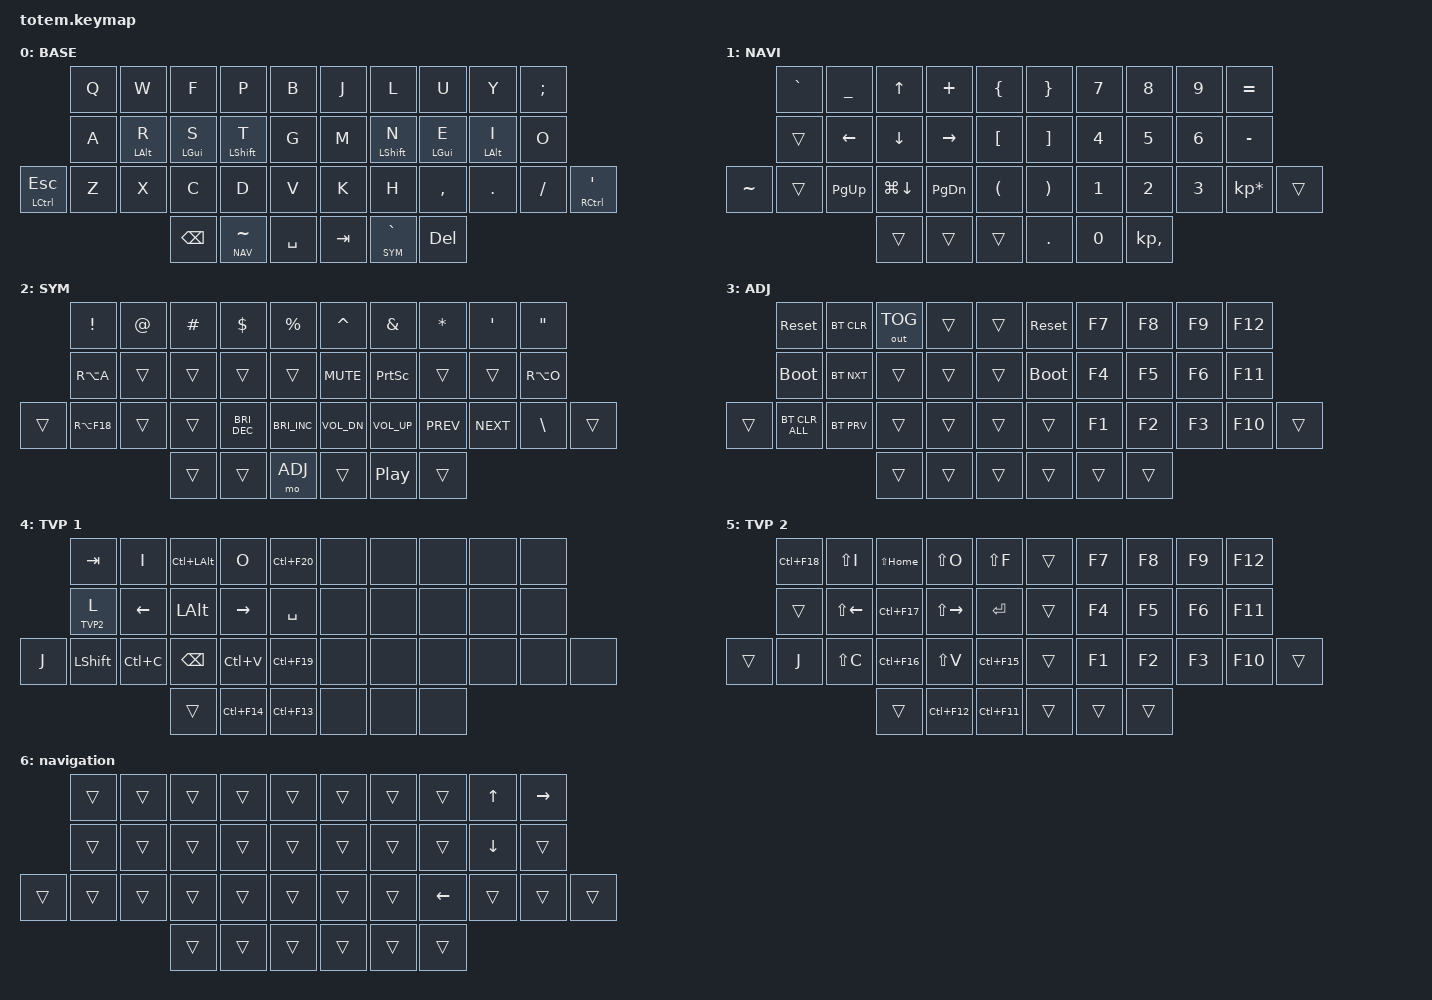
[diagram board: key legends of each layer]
//
//                                                        ▀▀▀▀▀     ▀▀▀▀▀          ▀▀█▀▀
//                                                        ▄▀▀▀▄  ▄  ▄▀▀▀▄  ▄  ▄▀▀▀▄  █  ▄▀▀▀▄
//                                                        █   █  █  █   █  █  █   █  █  █   █
//                                                         ▀▀▀   █   ▀▀▀   █   ▀▀▀   ▀   ▀▀▀
//                                                               █      ▄▄▄█▄▄▄    █   █  
//                                                               ▀      █  █  █     █▄█
//                                                             ▀▀▀▀▀    █  █  █      ▀
//                                                                      ▀  ▀  ▀
//
// ▄▄▄▄▄▄▄▄▄▄▄▄▄▄▄▄▄▄▄▄▄▄▄▄▄▄▄▄▄▄▄▄▄▄▄▄▄▄▄▄▄▄▄▄▄▄▄▄▄▄▄▄▄▄▄▄▄▄▄▄▄▄▄▄▄▄▄▄▄▄▄▄▄▄▄▄▄▄▄▄▄▄▄▄▄▄▄▄▄▄▄▄▄▄▄▄▄▄▄▄▄▄▄▄▄▄▄▄▄▄▄▄▄▄▄▄▄▄▄▄▄▄▄▄▄▄▄▄▄▄▄▄▄▄▄▄▄▄▄▄▄▄▄▄▄▄▄▄▄

#include <behaviors.dtsi>
#include <dt-bindings/zmk/bt.h>
#include <dt-bindings/zmk/keys.h>
#include <dt-bindings/zmk/outputs.h>

#define BASE 0
#define NAV  1
#define SYM  2
#define ADJ  3
#define TVP1 4
#define TVP2 5

&mt {
    quick-tap-ms = <160>;
    global-quick-tap;
    flavor = "tap-preferred";
    tapping-term-ms = <190>;
};

/ {
    combos {
        compatible = "zmk,combos";

        combo_esc {
            timeout-ms = <60>;
            key-positions = <0 1>;
            bindings = <&kp TAB>;
            require-prior-idle-ms = <120>;
        };

        dash {
            bindings = <&kp MINUS>;
            key-positions = <19 31>;
            timeout-ms = <70>;
        };

        tilde_combo {
            bindings = <&kp TILDE>;
            key-positions = <0 20>;
            timeout-ms = <60>;
            require-prior-idle-ms = <100>;
        };

        enter_combo {
            bindings = <&kp ENTER>;
            key-positions = <13 12 11>;
            timeout-ms = <70>;
            require-prior-idle-ms = <100>;
        };

        enter_right_combo {
            bindings = <&kp ENTER>;
            key-positions = <16 18 17>;
            timeout-ms = <70>;
            require-prior-idle-ms = <100>;
        };

        russian_letter_ {
            bindings = <&kp RIGHT_BRACKET>;
            key-positions = <8 9>;
            timeout-ms = <20>;
            require-prior-idle-ms = <100>;
        };

        russian_letter_x {
            bindings = <&kp LEFT_BRACKET>;
            key-positions = <8 7>;
            require-prior-idle-ms = <100>;
            timeout-ms = <20>;
        };

        umlaut_ue {
            bindings = <&kp RA(Y)>;
            key-positions = <7 17>;
        };

        umlaut_sz {
            bindings = <&kp RA(S)>;
            key-positions = <12 21>;
        };

        umlaut_ae {
            bindings = <&kp RA(Q)>;
            key-positions = <10 17>;
        };

        umlaut_oe {
            bindings = <&kp RA(P)>;
            key-positions = <17 19>;
        };
    };

    behaviors {
        mt_left: mt_left {
            compatible = "zmk,behavior-hold-tap";
            label = "MT_LEFT";
            bindings = <&kp>, <&kp>;

            #binding-cells = <2>;
            tapping-term-ms = <400>;
            quick-tap-ms = <170>;
            flavor = "balanced";
            hold-trigger-key-positions = <26 27 16 15 5 6 7 5 6 7 8 9 15 16 17 18 19 26 27 28 29 31 5 6 7 8 9 15 16 17 18 19 26 27 28 29 30 31 35 36 37 32 33 34>;
            require-prior-idle-ms = <50>;
            hold-trigger-on-release;
        };

        mt_right: mt_right {
            compatible = "zmk,behavior-hold-tap";
            label = "MT_RIGHT";
            bindings = <&kp>, <&kp>;

            #binding-cells = <2>;
            tapping-term-ms = <400>;
            quick-tap-ms = <170>;
            flavor = "balanced";
            require-prior-idle-ms = <50>;
            hold-trigger-on-release;
            hold-trigger-key-positions = <0 1 4 10 11 12 13 14 20 21 22 23 24 25 2 35 36 37 3 32 33 34>;
        };

        mt_thumb: mt_thumb {
            compatible = "zmk,behavior-hold-tap";
            label = "MT_THUMB";
            bindings = <&kp>, <&kp>;

            #binding-cells = <2>;
            quick-tap-ms = <220>;
            flavor = "balanced";
            tapping-term-ms = <100>;
            require-prior-idle-ms = <0>;
        };

        mt_shift_left: mt_shift_left {
            compatible = "zmk,behavior-hold-tap";
            label = "MT_SHIFT_LEFT";
            bindings = <&kp>, <&kp>;

            #binding-cells = <2>;
            tapping-term-ms = <175>;
            quick-tap-ms = <175>;
            flavor = "tap-preferred";
            hold-trigger-key-positions = <19 26 27 29 30 31 36 37 35 36 32 33 34 5 6 7 8 9 15 16 17 18 19 26 27 28 29 31>;
            require-prior-idle-ms = <20>;
        };

        mt_shift_right: mt_shift_right {
            compatible = "zmk,behavior-hold-tap";
            label = "MT_SHIFT_RIGHT";
            bindings = <&kp>, <&kp>;

            #binding-cells = <2>;
            tapping-term-ms = <175>;
            quick-tap-ms = <175>;
            flavor = "tap-preferred";
            hold-trigger-key-positions = <0 1 2 3 4 10 11 12 13 14 20 21 22 23 24 25 32 33 34 35 36 37>;
            require-prior-idle-ms = <20>;
        };

        hold_sticky: hold_sticky {
            compatible = "zmk,behavior-hold-tap";
            label = "HOLD_STICKY";
            bindings = <&kp>, <&sk>;

            #binding-cells = <2>;
            flavor = "hold-preferred";
            tapping-term-ms = <150>;
            quick-tap-ms = <220>;
        };

        mt_all: mt_all {
            compatible = "zmk,behavior-hold-tap";
            label = "MT_ALL";
            bindings = <&kp>, <&kp>;

            #binding-cells = <2>;
            tapping-term-ms = <175>;
            quick-tap-ms = <175>;
            flavor = "balanced";
            require-prior-idle-ms = <35>;
            hold-trigger-on-release;
        };
    };

    macros {
        nav_on: nav_on {
            compatible = "zmk,behavior-macro";
            #binding-cells = <0>;
            bindings = <&macro_press>, <&mo 1 &kp F13>;

            label = "NAV_ON";
        };

        nav_off: nav_off {
            compatible = "zmk,behavior-macro";
            #binding-cells = <0>;
            bindings = <&macro_release>, <&mo 1 &kp F13>;

            label = "NAV_OFF";
        };
    };

    keymap {
        compatible = "zmk,keymap";

        // ▄▄▄▄▄▄▄▄▄▄▄▄▄▄▄▄▄▄▄▄▄▄▄▄▄▄▄▄▄▄▄▄▄▄▄▄▄▄▄▄▄▄▄▄▄▄▄▄▄▄▄▄▄▄▄▄▄▄▄▄▄▄▄▄▄▄▄▄▄▄▄▄▄▄▄▄▄▄▄▄▄▄▄▄▄▄▄▄▄▄▄▄▄▄▄▄▄▄▄▄▄▄▄▄▄▄▄▄▄▄▄▄▄▄▄▄▄▄▄▄▄▄▄▄▄▄▄▄▄▄▄▄▄▄▄▄▄▄▄▄▄▄▄▄▄▄▄▄▄

        base_layer {
            // ┏━━━━━━━━━━━━━━━━━━━━━━━━━━━━━━━━━━━━━━━┓

            label = "BASE";

            // ┗━━━━━━━━━━━━━━━━━━━━━━━━━━━━━━━━━━━━━━━┛
            //             ┏━━━━━━━━━━━┳━━━━━━━━━━━┳━━━━━━━━━━━┳━━━━━━━━━━━┳━━━━━━━━━━━┓   ┏━━━━━━━━━━━┳━━━━━━━━━━━┳━━━━━━━━━━━┳━━━━━━━━━━━┳━━━━━━━━━━━┓
            //             ┃     Q     ┃     W     ┃     F     ┃     P     ┃     G     ┃   ┃     J     ┃     L     ┃     U     ┃     Y     ┃     ;     ┃
            //             ┣━━━━━━━━━━━╋━━━━━━━━━━━╋━━━━━━━━━━━╋━━━━━━━━━━━╋━━━━━━━━━━━┫   ┣━━━━━━━━━━━╋━━━━━━━━━━━╋━━━━━━━━━━━╋━━━━━━━━━━━╋━━━━━━━━━━━┫
            //             ┃     A     ┃     R     ┃     S     ┃     T     ┃     D     ┃   ┃     H     ┃     N     ┃     E     ┃     I     ┃     O     ┃
            // ┏━━━━━━━━━━━╋━━━━━━━━━━━╋━━━━━━━━━━━╋━━━━━━━━━━━╋━━━━━━━━━━━╋━━━━━━━━━━━┫   ┣━━━━━━━━━━━╋━━━━━━━━━━━╋━━━━━━━━━━━╋━━━━━━━━━━━╋━━━━━━━━━━━╋━━━━━━━━━━━┓
            // ┃     Q     ┃     Z     ┃     X     ┃     C     ┃     V     ┃     B     ┃   ┃     K     ┃     M     ┃     ,     ┃     .     ┃     /     ┃     \     ┃
            // ┗━━━━━━━━━━━┻━━━━━━━━━━━┻━━━━━━━━━━━╋━━━━━━━━━━━╋━━━━━━━━━━━╋━━━━━━━━━━━┫   ┣━━━━━━━━━━━╋━━━━━━━━━━━╋━━━━━━━━━━━╋━━━━━━━━━━━┻━━━━━━━━━━━┻━━━━━━━━━━━┛
            //                                     ┃    DEL    ┃    TAB    ┃    SPC    ┃   ┃   ENTER   ┃           ┃   BSPC    ┃
            //                                     ┗━━━━━━━━━━━┻━━━━━━━━━━━┻━━━━━━━━━━━┛   ┗━━━━━━━━━━━┻━━━━━━━━━━━┻━━━━━━━━━━━┛

            bindings = <
                             &kp Q  &kp W                  &kp F            &kp P                    &kp B        &kp J    &kp L                     &kp U             &kp Y                   &kp SEMICOLON
                             &kp A  &mt_shift_left LALT R  &mt_left LGUI S  &mt_shift_left LSHIFT T  &kp G        &kp M    &mt_shift_right LSHIFT N  &mt_right LGUI E  &mt_shift_right LALT I  &kp O
&mt_all LEFT_CONTROL ESCAPE  &kp Z  &kp X                  &kp C            &kp D                    &kp V        &kp K    &kp H                     &kp COMMA         &kp DOT                 &kp FSLH       &mt_all RCTRL SQT
                                                           &kp BACKSPACE    &lt NAV TILDE            &kp SPACE    &kp TAB  &lt SYM GRAVE             &kp DELETE
            >;
        };

        // ▄▄▄▄▄▄▄▄▄▄▄▄▄▄▄▄▄▄▄▄▄▄▄▄▄▄▄▄▄▄▄▄▄▄▄▄▄▄▄▄▄▄▄▄▄▄▄▄▄▄▄▄▄▄▄▄▄▄▄▄▄▄▄▄▄▄▄▄▄▄▄▄▄▄▄▄▄▄▄▄▄▄▄▄▄▄▄▄▄▄▄▄▄▄▄▄▄▄▄▄▄▄▄▄▄▄▄▄▄▄▄▄▄▄▄▄▄▄▄▄▄▄▄▄▄▄▄▄▄▄▄▄▄▄▄▄▄▄▄▄▄▄▄▄▄▄▄▄▄

        nav_layer {
            // ┏━━━━━━━━━━━━━━━━━━━━━━━━━━━━━━━━━━━━━━━┓

            label = "NAVI";

            // ┗━━━━━━━━━━━━━━━━━━━━━━━━━━━━━━━━━━━━━━━┛
            //             ┏━━━━━━━━━━━┳━━━━━━━━━━━┳━━━━━━━━━━━┳━━━━━━━━━━━┳━━━━━━━━━━━┓   ┏━━━━━━━━━━━┳━━━━━━━━━━━┳━━━━━━━━━━━┳━━━━━━━━━━━┳━━━━━━━━━━━┓
            //             ┃           ┃           ┃     UP    ┃           ┃     {     ┃   ┃     }     ┃     7     ┃     8     ┃     9     ┃     +     ┃
            //             ┣━━━━━━━━━━━╋━━━━━━━━━━━╋━━━━━━━━━━━╋━━━━━━━━━━━╋━━━━━━━━━━━┫   ┣━━━━━━━━━━━╋━━━━━━━━━━━╋━━━━━━━━━━━╋━━━━━━━━━━━╋━━━━━━━━━━━┫
            //             ┃   SHIFT   ┃   LEFT    ┃    DOWN   ┃   RIGHT   ┃     [     ┃   ┃     ]     ┃     4     ┃     5     ┃     6     ┃     -     ┃
            // ┏━━━━━━━━━━━╋━━━━━━━━━━━╋━━━━━━━━━━━╋━━━━━━━━━━━╋━━━━━━━━━━━╋━━━━━━━━━━━┫   ┣━━━━━━━━━━━╋━━━━━━━━━━━╋━━━━━━━━━━━╋━━━━━━━━━━━╋━━━━━━━━━━━╋━━━━━━━━━━━┓
            // ┃           ┃           ┃   P UP    ┃  C LOCK   ┃  P DOWN   ┃     (     ┃   ┃     )     ┃     1     ┃     2     ┃     3     ┃     *     ┃           ┃
            // ┗━━━━━━━━━━━┻━━━━━━━━━━━┻━━━━━━━━━━━╋━━━━━━━━━━━╋━━━━━━━━━━━╋━━━━━━━━━━━┫   ┣━━━━━━━━━━━╋━━━━━━━━━━━╋━━━━━━━━━━━╋━━━━━━━━━━━┻━━━━━━━━━━━┻━━━━━━━━━━━┛
            //                                     ┃           ┃    TAB    ┃    SPC    ┃   ┃    DEL    ┃     0     ┃           ┃
            //                                     ┗━━━━━━━━━━━┻━━━━━━━━━━━┻━━━━━━━━━━━┛   ┗━━━━━━━━━━━┻━━━━━━━━━━━┻━━━━━━━━━━━┛

            bindings = <
           &kp GRAVE  &kp UNDER       &kp UP          &kp PLUS         &kp LBRC    &kp RBRC    &kp N7        &kp N8        &kp N9        &kp EQUAL
           &trans     &kp LEFT_ARROW  &kp DOWN_ARROW  &kp RIGHT_ARROW  &kp LBKT    &kp RBKT    &kp NUMBER_4  &kp N5        &kp NUMBER_6  &kp MINUS
&kp TILDE  &trans     &kp PG_UP       &kp LG(DOWN)    &kp PG_DN        &kp LPAR    &kp RPAR    &kp NUMBER_1  &kp N2        &kp N3        &kp KP_MULTIPLY  &trans
                                      &trans          &trans           &trans      &kp PERIOD  &kp N0        &kp KP_COMMA
            >;
        };

        // ▄▄▄▄▄▄▄▄▄▄▄▄▄▄▄▄▄▄▄▄▄▄▄▄▄▄▄▄▄▄▄▄▄▄▄▄▄▄▄▄▄▄▄▄▄▄▄▄▄▄▄▄▄▄▄▄▄▄▄▄▄▄▄▄▄▄▄▄▄▄▄▄▄▄▄▄▄▄▄▄▄▄▄▄▄▄▄▄▄▄▄▄▄▄▄▄▄▄▄▄▄▄▄▄▄▄▄▄▄▄▄▄▄▄▄▄▄▄▄▄▄▄▄▄▄▄▄▄▄▄▄▄▄▄▄▄▄▄▄▄▄▄▄▄▄▄▄▄▄

        sim_layer {
            // ┏━━━━━━━━━━━━━━━━━━━━━━━━━━━━━━━━━━━━━━━┓

            label = "SYM";

            // ┗━━━━━━━━━━━━━━━━━━━━━━━━━━━━━━━━━━━━━━━┛
            //             ┏━━━━━━━━━━━┳━━━━━━━━━━━┳━━━━━━━━━━━┳━━━━━━━━━━━┳━━━━━━━━━━━┓   ┏━━━━━━━━━━━┳━━━━━━━━━━━┳━━━━━━━━━━━┳━━━━━━━━━━━┳━━━━━━━━━━━┓
            //             ┃     !     ┃     @     ┃     #     ┃     $     ┃     %     ┃   ┃     ˆ     ┃     &     ┃     Ü     ┃     '     ┃     "     ┃
            //             ┣━━━━━━━━━━━╋━━━━━━━━━━━╋━━━━━━━━━━━╋━━━━━━━━━━━╋━━━━━━━━━━━┫   ┣━━━━━━━━━━━╋━━━━━━━━━━━╋━━━━━━━━━━━╋━━━━━━━━━━━╋━━━━━━━━━━━┫
            //             ┃     Ä     ┃           ┃    SZ     ┃           ┃           ┃   ┃   MUTE    ┃   YEN     ┃   EURO    ┃  POUND    ┃     Ö     ┃
            // ┏━━━━━━━━━━━╋━━━━━━━━━━━╋━━━━━━━━━━━╋━━━━━━━━━━━╋━━━━━━━━━━━╋━━━━━━━━━━━┫   ┣━━━━━━━━━━━╋━━━━━━━━━━━╋━━━━━━━━━━━╋━━━━━━━━━━━╋━━━━━━━━━━━╋━━━━━━━━━━━┓
            // ┃           ┃  EMAIL1   ┃  EMAIL2   ┃           ┃           ┃           ┃   ┃   VOL-    ┃   VOL+    ┃   LAST    ┃   NEXT    ┃     \     ┃           ┃
            // ┗━━━━━━━━━━━┻━━━━━━━━━━━┻━━━━━━━━━━━╋━━━━━━━━━━━╋━━━━━━━━━━━╋━━━━━━━━━━━┫   ┣━━━━━━━━━━━╋━━━━━━━━━━━╋━━━━━━━━━━━╋━━━━━━━━━━━┻━━━━━━━━━━━┻━━━━━━━━━━━┛
            //                                     ┃           ┃    GIF    ┃    ADJ    ┃   ┃           ┃           ┃           ┃
            //                                     ┗━━━━━━━━━━━┻━━━━━━━━━━━┻━━━━━━━━━━━┛   ┗━━━━━━━━━━━┻━━━━━━━━━━━┻━━━━━━━━━━━┛

            bindings = <
        &kp EXCL     &kp AT  &kp HASH  &kp DLLR       &kp PRCNT               &kp CARET     &kp AMPS         &kp ASTERISK  &kp SQT     &kp DQT
        &kp RA(A)    &trans  &trans    &trans         &trans                  &kp C_MUTE    &kp PRINTSCREEN  &trans        &trans      &kp RA(O)
&trans  &kp RA(F18)  &trans  &trans    &kp C_BRI_DEC  &kp C_BRIGHTNESS_INC    &kp C_VOL_DN  &kp C_VOL_UP     &kp C_PREV    &kp C_NEXT  &kp BSLH   &trans
                             &trans    &trans         &mo ADJ                 &trans        &kp C_PP         &trans
            >;
        };

        // ▄▄▄▄▄▄▄▄▄▄▄▄▄▄▄▄▄▄▄▄▄▄▄▄▄▄▄▄▄▄▄▄▄▄▄▄▄▄▄▄▄▄▄▄▄▄▄▄▄▄▄▄▄▄▄▄▄▄▄▄▄▄▄▄▄▄▄▄▄▄▄▄▄▄▄▄▄▄▄▄▄▄▄▄▄▄▄▄▄▄▄▄▄▄▄▄▄▄▄▄▄▄▄▄▄▄▄▄▄▄▄▄▄▄▄▄▄▄▄▄▄▄▄▄▄▄▄▄▄▄▄▄▄▄▄▄▄▄▄▄▄▄▄▄▄▄▄▄▄

        adjust_layer {
            // ┏━━━━━━━━━━━━━━━━━━━━━━━━━━━━━━━━━━━━━━━┓

            label = "ADJ";

            // ┗━━━━━━━━━━━━━━━━━━━━━━━━━━━━━━━━━━━━━━━┛
            //             ┏━━━━━━━━━━━┳━━━━━━━━━━━┳━━━━━━━━━━━┳━━━━━━━━━━━┳━━━━━━━━━━━┓   ┏━━━━━━━━━━━┳━━━━━━━━━━━┳━━━━━━━━━━━┳━━━━━━━━━━━┳━━━━━━━━━━━┓
            //             ┃   RESET   ┃ BT CLEAR  ┃  OUT TOG  ┃           ┃           ┃   ┃           ┃    F7     ┃    F8     ┃    F9     ┃    F12    ┃
            //             ┣━━━━━━━━━━━╋━━━━━━━━━━━╋━━━━━━━━━━━╋━━━━━━━━━━━╋━━━━━━━━━━━┫   ┣━━━━━━━━━━━╋━━━━━━━━━━━╋━━━━━━━━━━━╋━━━━━━━━━━━╋━━━━━━━━━━━┫
            //             ┃ BOOTLOAD  ┃ BT NEXT   ┃           ┃           ┃           ┃   ┃           ┃    F4     ┃    F5     ┃    F6     ┃    F11    ┃
            // ┏━━━━━━━━━━━╋━━━━━━━━━━━╋━━━━━━━━━━━╋━━━━━━━━━━━╋━━━━━━━━━━━╋━━━━━━━━━━━┫   ┣━━━━━━━━━━━╋━━━━━━━━━━━╋━━━━━━━━━━━╋━━━━━━━━━━━╋━━━━━━━━━━━╋━━━━━━━━━━━┓
            // ┃           ┃           ┃ BT PREV   ┃           ┃           ┃           ┃   ┃           ┃    F1     ┃    F2     ┃    F3     ┃    F10    ┃           ┃
            // ┗━━━━━━━━━━━┻━━━━━━━━━━━┻━━━━━━━━━━━╋━━━━━━━━━━━╋━━━━━━━━━━━╋━━━━━━━━━━━┫   ┣━━━━━━━━━━━╋━━━━━━━━━━━╋━━━━━━━━━━━╋━━━━━━━━━━━┻━━━━━━━━━━━┻━━━━━━━━━━━┛
            //                                     ┃           ┃           ┃           ┃   ┃           ┃           ┃           ┃
            //                                     ┗━━━━━━━━━━━┻━━━━━━━━━━━┻━━━━━━━━━━━┛   ┗━━━━━━━━━━━┻━━━━━━━━━━━┻━━━━━━━━━━━┛

            bindings = <
        &sys_reset      &bt BT_CLR  &out OUT_TOG  &trans  &trans    &sys_reset   &kp F7  &kp F8  &kp F9  &kp F12
        &bootloader     &bt BT_NXT  &trans        &trans  &trans    &bootloader  &kp F4  &kp F5  &kp F6  &kp F11
&trans  &bt BT_CLR_ALL  &bt BT_PRV  &trans        &trans  &trans    &trans       &kp F1  &kp F2  &kp F3  &kp F10  &trans
                                    &trans        &trans  &trans    &trans       &trans  &trans
            >;
        };

        // ▄▄▄▄▄▄▄▄▄▄▄▄▄▄▄▄▄▄▄▄▄▄▄▄▄▄▄▄▄▄▄▄▄▄▄▄▄▄▄▄▄▄▄▄▄▄▄▄▄▄▄▄▄▄▄▄▄▄▄▄▄▄▄▄▄▄▄▄▄▄▄▄▄▄▄▄▄▄▄▄▄▄▄▄▄▄▄▄▄▄▄▄▄▄▄▄▄▄▄▄▄▄▄▄▄▄▄▄▄▄▄▄▄▄▄▄▄▄▄▄▄▄▄▄▄▄▄▄▄▄▄▄▄▄▄▄▄▄▄▄▄▄▄▄▄▄▄▄▄

        tvp1_layer {
            // ┏━━━━━━━━━━━━━━━━━━━━━━━━━━━━━━━━━━━━━━━┓

            label = "TVP 1";

            // ┗━━━━━━━━━━━━━━━━━━━━━━━━━━━━━━━━━━━━━━━┛
            //             ┏━━━━━━━━━━━┳━━━━━━━━━━━┳━━━━━━━━━━━┳━━━━━━━━━━━┳━━━━━━━━━━━┓   ┏━━━━━━━━━━━┳━━━━━━━━━━━┳━━━━━━━━━━━┳━━━━━━━━━━━┳━━━━━━━━━━━┓
            //             ┃ NEXT FILE ┃ MARK IN   ┃ ROTATE    ┃ MARK OUT  ┃ SHOW SNAP ┃   ┃           ┃           ┃           ┃           ┃           ┃
            //             ┣━━━━━━━━━━━╋━━━━━━━━━━━╋━━━━━━━━━━━╋━━━━━━━━━━━╋━━━━━━━━━━━┫   ┣━━━━━━━━━━━╋━━━━━━━━━━━╋━━━━━━━━━━━╋━━━━━━━━━━━╋━━━━━━━━━━━┫
            //             ┃ TVP II    ┃ LEFT      ┃ PAN       ┃ RIGHT     ┃ PLAY/FLIP ┃   ┃           ┃           ┃           ┃           ┃           ┃
            // ┏━━━━━━━━━━━╋━━━━━━━━━━━╋━━━━━━━━━━━╋━━━━━━━━━━━╋━━━━━━━━━━━╋━━━━━━━━━━━┫   ┣━━━━━━━━━━━╋━━━━━━━━━━━╋━━━━━━━━━━━╋━━━━━━━━━━━╋━━━━━━━━━━━╋━━━━━━━━━━━┓
            // ┃ FULLSCR   ┃ SHIFT     ┃ COPY      ┃ DELETE    ┃ PASTE     ┃ IMG MARK  ┃   ┃           ┃           ┃           ┃           ┃           ┃           ┃
            // ┗━━━━━━━━━━━┻━━━━━━━━━━━┻━━━━━━━━━━━╋━━━━━━━━━━━╋━━━━━━━━━━━╋━━━━━━━━━━━┫   ┣━━━━━━━━━━━╋━━━━━━━━━━━╋━━━━━━━━━━━╋━━━━━━━━━━━┻━━━━━━━━━━━┻━━━━━━━━━━━┛
            //                                     ┃           ┃ UNDO/SAVE ┃  SEL/MOV  ┃   ┃           ┃           ┃           ┃
            //                                     ┗━━━━━━━━━━━┻━━━━━━━━━━━┻━━━━━━━━━━━┛   ┗━━━━━━━━━━━┻━━━━━━━━━━━┻━━━━━━━━━━━┛

            bindings = <
       &kp TAB     &kp I      &kp LC(LALT)  &kp O        &kp LC(F20)    &none  &none  &none  &none  &none
       &lt TVP2 L  &kp LEFT   &kp LALT      &kp RIGHT    &kp SPACE      &none  &none  &none  &none  &none
&kp J  &kp LSHFT   &kp LC(C)  &kp BSPC      &kp LC(V)    &kp LC(F19)    &none  &none  &none  &none  &none  &none
                              &trans        &kp LC(F14)  &kp LC(F13)    &none  &none  &none
            >;
        };

        // ▄▄▄▄▄▄▄▄▄▄▄▄▄▄▄▄▄▄▄▄▄▄▄▄▄▄▄▄▄▄▄▄▄▄▄▄▄▄▄▄▄▄▄▄▄▄▄▄▄▄▄▄▄▄▄▄▄▄▄▄▄▄▄▄▄▄▄▄▄▄▄▄▄▄▄▄▄▄▄▄▄▄▄▄▄▄▄▄▄▄▄▄▄▄▄▄▄▄▄▄▄▄▄▄▄▄▄▄▄▄▄▄▄▄▄▄▄▄▄▄▄▄▄▄▄▄▄▄▄▄▄▄▄▄▄▄▄▄▄▄▄▄▄▄▄▄▄▄▄

        tvp2_layer {
            // ┏━━━━━━━━━━━━━━━━━━━━━━━━━━━━━━━━━━━━━━━┓

            label = "TVP 2";

            // ┗━━━━━━━━━━━━━━━━━━━━━━━━━━━━━━━━━━━━━━━┛
            //             ┏━━━━━━━━━━━┳━━━━━━━━━━━┳━━━━━━━━━━━┳━━━━━━━━━━━┳━━━━━━━━━━━┓   ┏━━━━━━━━━━━┳━━━━━━━━━━━┳━━━━━━━━━━━┳━━━━━━━━━━━┳━━━━━━━━━━━┓
            //             ┃ SOLO      ┃ TOGGLE IN ┃ RESET ROT ┃ TOGGLE OUT┃ TAKE SNAP ┃   ┃           ┃           ┃           ┃           ┃           ┃
            //             ┣━━━━━━━━━━━╋━━━━━━━━━━━╋━━━━━━━━━━━╋━━━━━━━━━━━╋━━━━━━━━━━━┫   ┣━━━━━━━━━━━╋━━━━━━━━━━━╋━━━━━━━━━━━╋━━━━━━━━━━━╋━━━━━━━━━━━┫
            //             ┃ ---       ┃ LAST KEY  ┃ NEW KEY   ┃ NEXT KEY  ┃ ENTER     ┃   ┃           ┃           ┃           ┃           ┃           ┃
            // ┏━━━━━━━━━━━╋━━━━━━━━━━━╋━━━━━━━━━━━╋━━━━━━━━━━━╋━━━━━━━━━━━╋━━━━━━━━━━━┫   ┣━━━━━━━━━━━╋━━━━━━━━━━━╋━━━━━━━━━━━╋━━━━━━━━━━━╋━━━━━━━━━━━╋━━━━━━━━━━━┓
            // ┃           ┃ FULLSCR   ┃ CPY2BRUSH ┃ DEL HEAD  ┃ PSTinPLACE┃ BOOK MARK ┃   ┃           ┃           ┃           ┃           ┃           ┃           ┃
            // ┗━━━━━━━━━━━┻━━━━━━━━━━━┻━━━━━━━━━━━╋━━━━━━━━━━━╋━━━━━━━━━━━╋━━━━━━━━━━━┫   ┣━━━━━━━━━━━╋━━━━━━━━━━━╋━━━━━━━━━━━╋━━━━━━━━━━━┻━━━━━━━━━━━┻━━━━━━━━━━━┛
            //                                     ┃           ┃ REDO/SAV1 ┃TRANS/WARP ┃   ┃           ┃           ┃           ┃
            //                                     ┗━━━━━━━━━━━┻━━━━━━━━━━━┻━━━━━━━━━━━┛   ┗━━━━━━━━━━━┻━━━━━━━━━━━┻━━━━━━━━━━━┛

            bindings = <
        &kp LC(F18)  &kp LS(I)     &kp LS(HOME)  &kp LS(O)      &kp LS(F)      &trans  &kp F7  &kp F8  &kp F9  &kp F12
        &trans       &kp LS(LEFT)  &kp LC(F17)   &kp LS(RIGHT)  &kp RET        &trans  &kp F4  &kp F5  &kp F6  &kp F11
&trans  &kp J        &kp LS(C)     &kp LC(F16)   &kp LS(V)      &kp LC(F15)    &trans  &kp F1  &kp F2  &kp F3  &kp F10  &trans
                                   &trans        &kp LC(F12)    &kp LC(F11)    &trans  &trans  &trans
            >;
        };

        navigation {
            bindings = <
        &trans  &trans  &trans  &trans  &trans    &trans  &trans  &trans    &kp UP_ARROW  &kp RIGHT
        &trans  &trans  &trans  &trans  &trans    &trans  &trans  &trans    &kp DOWN      &trans
&trans  &trans  &trans  &trans  &trans  &trans    &trans  &trans  &kp LEFT  &trans        &trans     &trans
                        &trans  &trans  &trans    &trans  &trans  &trans
            >;
        };
    };
};
